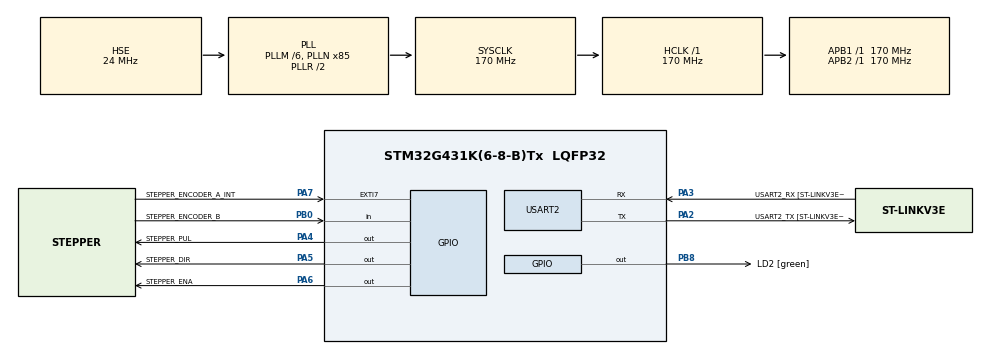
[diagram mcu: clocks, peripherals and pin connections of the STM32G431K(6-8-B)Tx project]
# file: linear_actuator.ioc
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Mcu.Family=STM32G4
Mcu.Name=STM32G431K(6-8-B)Tx
Mcu.Package=LQFP32
NVIC.EXTI9_5_IRQn=true\:0\:0\:false\:false\:true\:true\:true\:true
NVIC.PriorityGroup=NVIC_PRIORITYGROUP_4
NVIC.USART2_IRQn=true\:0\:0\:false\:false\:true\:true\:true\:true
PA13.GPIO_Label=T_SWDIO
PA13.Mode=Serial_Wire
PA13.Signal=SYS_JTMS-SWDIO
PA14.GPIO_Label=T_SWCLK
PA14.Mode=Serial_Wire
PA14.Signal=SYS_JTCK-SWCLK
PA2.GPIO_Label=USART2_TX [ST-LINKV3E_VCP_RX]
PA2.Mode=Asynchronous
PA2.Signal=USART2_TX
PA3.GPIO_Label=USART2_RX [ST-LINKV3E_VCP_TX]
PA3.Mode=Asynchronous
PA3.Signal=USART2_RX
PA4.GPIO_Label=STEPPER_PUL
PA4.Signal=GPIO_Output
PA5.GPIO_Label=STEPPER_DIR
PA5.Signal=GPIO_Output
PA6.GPIO_Label=STEPPER_ENA
PA6.Signal=GPIO_Output
PA7.GPIO_Label=STEPPER_ENCODER_A_INT
PA7.GPIO_ModeDefaultEXTI=GPIO_MODE_IT_RISING_FALLING
PA7.GPIO_PuPd=GPIO_PULLUP
PA7.Signal=GPXTI7
PB0.GPIO_Label=STEPPER_ENCODER_B
PB0.GPIO_PuPd=GPIO_PULLUP
PB0.Signal=GPIO_Input
PB3.GPIO_Label=T_SWO
PB3.Signal=SYS_JTDO-SWO
PB8-BOOT0.GPIO_Label=LD2 [green]
PB8-BOOT0.Signal=GPIO_Output
PF0-OSC_IN.Mode=HSE-External-Oscillator
PF0-OSC_IN.Signal=RCC_OSC_IN
PF1-OSC_OUT.Mode=HSE-External-Oscillator
PF1-OSC_OUT.Signal=RCC_OSC_OUT
ProjectManager.HeapSize=0x200
ProjectManager.StackSize=0x400
ProjectManager.TargetToolchain=STM32CubeIDE
RCC.ADC12Freq_Value=170000000
RCC.AHBFreq_Value=170000000
RCC.APB1Freq_Value=170000000
RCC.APB1TimFreq_Value=170000000
RCC.APB2Freq_Value=170000000
RCC.APB2TimFreq_Value=170000000
RCC.CortexFreq_Value=170000000
RCC.EXTERNAL_CLOCK_VALUE=12288000
RCC.HCLKFreq_Value=170000000
RCC.HSE_VALUE=24000000
RCC.HSI48_VALUE=48000000
RCC.HSI_VALUE=16000000
RCC.LSE_VALUE=32768
RCC.PLLM=RCC_PLLM_DIV6
RCC.PLLN=85
RCC.PLLSourceVirtual=RCC_PLLSOURCE_HSE
RCC.SYSCLKFreq_VALUE=170000000
RCC.SYSCLKSource=RCC_SYSCLKSOURCE_PLLCLK
RCC.USBFreq_Value=170000000
RCC.VCOOutputFreq_Value=340000000
USART2.VirtualMode-Asynchronous=VM_ASYNC
USART2.WordLength=WORDLENGTH_8B
VP_SYS_VS_DBSignals.Mode=DisableDeadBatterySignals
board=NUCLEO-G431KB

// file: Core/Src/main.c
/* USER CODE BEGIN Header */
/**
  ******************************************************************************
  * @file           : main.c
  * @brief          : Main program body
  ******************************************************************************
  * @attention
  *
  * Copyright (c) 2024 STMicroelectronics.
  * All rights reserved.
  *
  * This software is licensed under terms that can be found in the LICENSE file
  * in the root directory of this software component.
  * If no LICENSE file comes with this software, it is provided AS-IS.
  *
  ******************************************************************************
  */
/* USER CODE END Header */
#include "main.h"

/* USER CODE BEGIN Includes */
#include <stdlib.h>
#include <stdio.h>
#include <string.h>
/* USER CODE END Includes */

/* USER CODE BEGIN PD */
#define RX_COMMAND_BUFFER_SIZE 64
/* USER CODE END PD */

UART_HandleTypeDef huart2;

/* USER CODE BEGIN PV */
uint8_t RxCommandData[RX_COMMAND_BUFFER_SIZE];
volatile int16_t stepper_encoder_count = 0;
/* USER CODE END PV */

void SystemClock_Config(void);
static void MX_GPIO_Init(void);
static void MX_USART2_UART_Init(void);

/* USER CODE BEGIN 0 */
void controlStepperMotor(int32_t steps, uint32_t time) {

    // Ensure steps is not zero to avoid division by zero
    if (steps == 0) {
        // Handle error or return early
        return;
    }
	// Calculate delay
	uint32_t delay = (uint32_t)time/abs(steps);

    // Enable stepper motor driver
    HAL_GPIO_WritePin(STEPPER_ENA_GPIO_Port, STEPPER_ENA_Pin, GPIO_PIN_RESET);

    // Set direction (for example, if steps > 0, rotate clockwise; else, rotate counterclockwise)
    if (steps > 0) {
        HAL_GPIO_WritePin(STEPPER_DIR_GPIO_Port, STEPPER_DIR_Pin, GPIO_PIN_SET); // Rotate clockwise
    } else {
        HAL_GPIO_WritePin(STEPPER_DIR_GPIO_Port, STEPPER_DIR_Pin, GPIO_PIN_RESET); // Rotate counterclockwise
    }

    // Pulse the step pin for each step
    for (int i = 0; i < abs(steps); i++) {
        HAL_GPIO_WritePin(STEPPER_PUL_GPIO_Port, STEPPER_PUL_Pin, GPIO_PIN_SET);
        HAL_Delay(delay); // Adjust delay as needed for your stepper motor speed
        HAL_GPIO_WritePin(STEPPER_PUL_GPIO_Port, STEPPER_PUL_Pin, GPIO_PIN_RESET);
        //HAL_Delay(delay); // Adjust delay as needed for your stepper motor speed
    }

    // Disable stepper motor driver
    HAL_GPIO_WritePin(STEPPER_ENA_GPIO_Port, STEPPER_ENA_Pin, GPIO_PIN_SET);
}

void HAL_UARTEx_RxEventCallback(UART_HandleTypeDef *huart, uint16_t Size)
{
	HAL_UARTEx_ReceiveToIdle_IT(&huart2, RxCommandData, RX_COMMAND_BUFFER_SIZE);
}

/* USER CODE END 0 */

int main(void)
{

  /* MCU Configuration--------------------------------------------------------*/

  /* Reset of all peripherals, Initializes the Flash interface and the Systick. */
  HAL_Init();

  /* Configure the system clock */
  SystemClock_Config();

  /* Initialize all configured peripherals */
  MX_GPIO_Init();
  MX_USART2_UART_Init();

  /* Infinite loop */
  /* USER CODE BEGIN WHILE */
  HAL_UARTEx_ReceiveToIdle_IT(&huart2, RxCommandData, RX_COMMAND_BUFFER_SIZE);
  int stepper_steps = 0;
  int stepper_time = 0;
  while (1)
  {
	  sscanf((const char*)RxCommandData, "%d %d", &stepper_steps, &stepper_time);
	  controlStepperMotor(stepper_steps, stepper_time);	// Control stepper motor
      memset(RxCommandData, 0, RX_COMMAND_BUFFER_SIZE); // Clear buffer
      HAL_GPIO_TogglePin(LD2_GPIO_Port, LD2_Pin);	// Toggle the led pin
      HAL_Delay(500);
      // Send current stepper_encoder_count through uart
      char countStr[10];
      sprintf(countStr, "%d\r\n", stepper_encoder_count);
      HAL_UART_Transmit(&huart2, (uint8_t*)countStr, strlen(countStr), 100);
    /* USER CODE END WHILE */

  }
}

void SystemClock_Config(void)
{
  RCC_OscInitTypeDef RCC_OscInitStruct = {0};
  RCC_ClkInitTypeDef RCC_ClkInitStruct = {0};

  /** Configure the main internal regulator output voltage
  */
  HAL_PWREx_ControlVoltageScaling(PWR_REGULATOR_VOLTAGE_SCALE1_BOOST);

  /** Initializes the RCC Oscillators according to the specified parameters
  * in the RCC_OscInitTypeDef structure.
  */
  RCC_OscInitStruct.OscillatorType = RCC_OSCILLATORTYPE_HSE;
  RCC_OscInitStruct.HSEState = RCC_HSE_ON;
  RCC_OscInitStruct.PLL.PLLState = RCC_PLL_ON;
  RCC_OscInitStruct.PLL.PLLSource = RCC_PLLSOURCE_HSE;
  RCC_OscInitStruct.PLL.PLLM = RCC_PLLM_DIV6;
  RCC_OscInitStruct.PLL.PLLN = 85;
  RCC_OscInitStruct.PLL.PLLP = RCC_PLLP_DIV2;
  RCC_OscInitStruct.PLL.PLLQ = RCC_PLLQ_DIV2;
  RCC_OscInitStruct.PLL.PLLR = RCC_PLLR_DIV2;
  if (HAL_RCC_OscConfig(&RCC_OscInitStruct) != HAL_OK)
  {
    Error_Handler();
  }

  /** Initializes the CPU, AHB and APB buses clocks
  */
  RCC_ClkInitStruct.ClockType = RCC_CLOCKTYPE_HCLK|RCC_CLOCKTYPE_SYSCLK
                              |RCC_CLOCKTYPE_PCLK1|RCC_CLOCKTYPE_PCLK2;
  RCC_ClkInitStruct.SYSCLKSource = RCC_SYSCLKSOURCE_PLLCLK;
  RCC_ClkInitStruct.AHBCLKDivider = RCC_SYSCLK_DIV1;
  RCC_ClkInitStruct.APB1CLKDivider = RCC_HCLK_DIV1;
  RCC_ClkInitStruct.APB2CLKDivider = RCC_HCLK_DIV1;

  if (HAL_RCC_ClockConfig(&RCC_ClkInitStruct, FLASH_LATENCY_4) != HAL_OK)
  {
    Error_Handler();
  }
}

static void MX_USART2_UART_Init(void)
{

  huart2.Instance = USART2;
  huart2.Init.BaudRate = 115200;
  huart2.Init.WordLength = UART_WORDLENGTH_8B;
  huart2.Init.StopBits = UART_STOPBITS_1;
  huart2.Init.Parity = UART_PARITY_NONE;
  huart2.Init.Mode = UART_MODE_TX_RX;
  huart2.Init.HwFlowCtl = UART_HWCONTROL_NONE;
  huart2.Init.OverSampling = UART_OVERSAMPLING_16;
  huart2.Init.OneBitSampling = UART_ONE_BIT_SAMPLE_DISABLE;
  huart2.Init.ClockPrescaler = UART_PRESCALER_DIV1;
  huart2.AdvancedInit.AdvFeatureInit = UART_ADVFEATURE_NO_INIT;
  if (HAL_UART_Init(&huart2) != HAL_OK)
  {
    Error_Handler();
  }
  if (HAL_UARTEx_SetTxFifoThreshold(&huart2, UART_TXFIFO_THRESHOLD_1_8) != HAL_OK)
  {
    Error_Handler();
  }
  if (HAL_UARTEx_SetRxFifoThreshold(&huart2, UART_RXFIFO_THRESHOLD_1_8) != HAL_OK)
  {
    Error_Handler();
  }
  if (HAL_UARTEx_DisableFifoMode(&huart2) != HAL_OK)
  {
    Error_Handler();
  }

}

static void MX_GPIO_Init(void)
{
  GPIO_InitTypeDef GPIO_InitStruct = {0};

  /* GPIO Ports Clock Enable */
  __HAL_RCC_GPIOF_CLK_ENABLE();
  __HAL_RCC_GPIOA_CLK_ENABLE();
  __HAL_RCC_GPIOB_CLK_ENABLE();

  /*Configure GPIO pin Output Level */
  HAL_GPIO_WritePin(GPIOA, STEPPER_PUL_Pin|STEPPER_DIR_Pin|STEPPER_ENA_Pin, GPIO_PIN_RESET);

  /*Configure GPIO pin Output Level */
  HAL_GPIO_WritePin(LD2_GPIO_Port, LD2_Pin, GPIO_PIN_RESET);

  /*Configure GPIO pins : STEPPER_PUL_Pin STEPPER_DIR_Pin STEPPER_ENA_Pin */
  GPIO_InitStruct.Pin = STEPPER_PUL_Pin|STEPPER_DIR_Pin|STEPPER_ENA_Pin;
  GPIO_InitStruct.Mode = GPIO_MODE_OUTPUT_PP;
  GPIO_InitStruct.Pull = GPIO_NOPULL;
  GPIO_InitStruct.Speed = GPIO_SPEED_FREQ_LOW;
  HAL_GPIO_Init(GPIOA, &GPIO_InitStruct);

  /*Configure GPIO pin : STEPPER_ENCODER_A_INT_Pin */
  GPIO_InitStruct.Pin = STEPPER_ENCODER_A_INT_Pin;
  GPIO_InitStruct.Mode = GPIO_MODE_IT_RISING_FALLING;
  GPIO_InitStruct.Pull = GPIO_PULLUP;
  HAL_GPIO_Init(STEPPER_ENCODER_A_INT_GPIO_Port, &GPIO_InitStruct);

  /*Configure GPIO pin : STEPPER_ENCODER_B_Pin */
  GPIO_InitStruct.Pin = STEPPER_ENCODER_B_Pin;
  GPIO_InitStruct.Mode = GPIO_MODE_INPUT;
  GPIO_InitStruct.Pull = GPIO_PULLUP;
  HAL_GPIO_Init(STEPPER_ENCODER_B_GPIO_Port, &GPIO_InitStruct);

  /*Configure GPIO pin : LD2_Pin */
  GPIO_InitStruct.Pin = LD2_Pin;
  GPIO_InitStruct.Mode = GPIO_MODE_OUTPUT_PP;
  GPIO_InitStruct.Pull = GPIO_NOPULL;
  GPIO_InitStruct.Speed = GPIO_SPEED_FREQ_LOW;
  HAL_GPIO_Init(LD2_GPIO_Port, &GPIO_InitStruct);

  /* EXTI interrupt init*/
  HAL_NVIC_SetPriority(EXTI9_5_IRQn, 0, 0);
  HAL_NVIC_EnableIRQ(EXTI9_5_IRQn);

}

/* USER CODE BEGIN 4 */
void HAL_GPIO_EXTI_Callback(uint16_t GPIO_Pin)
{
	uint8_t pinA = HAL_GPIO_ReadPin(STEPPER_ENCODER_A_INT_GPIO_Port, STEPPER_ENCODER_A_INT_Pin);
	uint8_t pinB = HAL_GPIO_ReadPin(STEPPER_ENCODER_B_GPIO_Port, STEPPER_ENCODER_B_Pin);
	uint8_t dir = pinA ^ pinB;
	if (dir){
		stepper_encoder_count--;
	}
	else{
		stepper_encoder_count++;
	}
}
/* USER CODE END 4 */

void Error_Handler(void)
{
  __disable_irq();
  while (1)
  {
  }
}
